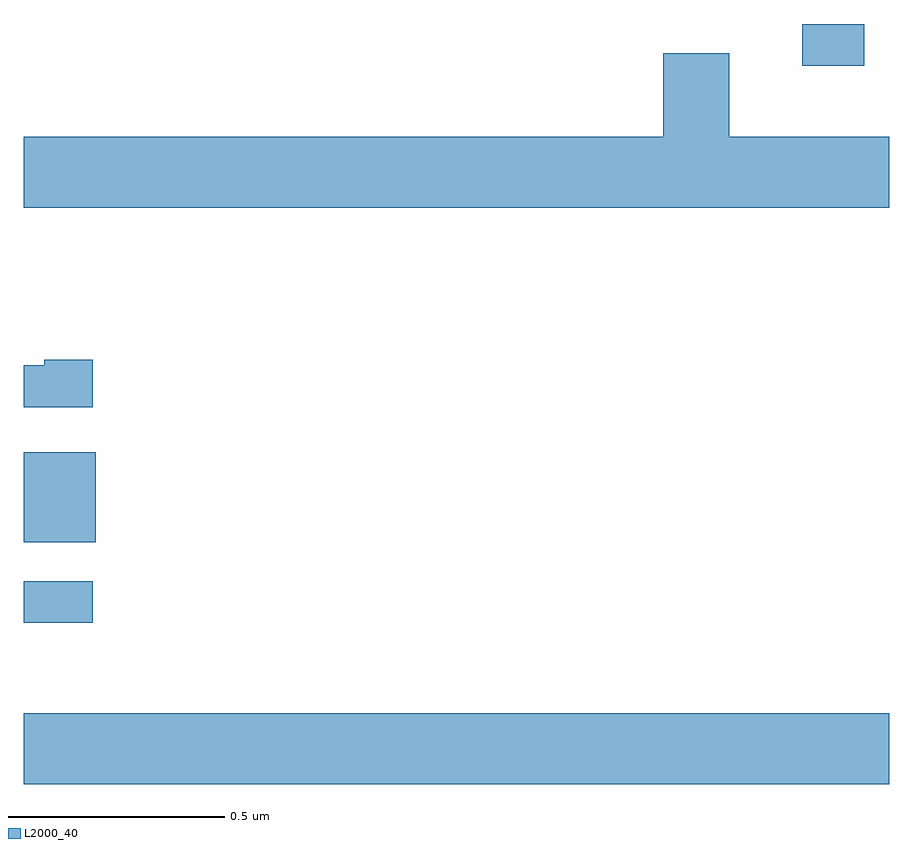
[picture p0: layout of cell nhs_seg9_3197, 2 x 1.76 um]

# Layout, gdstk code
import gdstk
lib = gdstk.Library(unit=1e-6, precision=1e-09)
def R(c, l, rs):  # rectangles x0, y0, x1, y1
    for r in rs: c.add(gdstk.rectangle(r[:2], r[2:], *l))
def P(c, l, *ps):  # polygons
    for p in ps: c.add(gdstk.Polygon(p, *l))
L2000_40 = (2000, 40)

nhs_seg9_3197 = lib.new_cell('nhs_seg9_3197')
R(nhs_seg9_3197, L2000_40, [(150,1205.744,152,1205.908), (150,1206.117,150.16,1206.213), (150,1206.302,150.166,1206.511), (151.799,1207.404,151.942,1207.5)])
P(nhs_seg9_3197, L2000_40, [(152,1207.24),(151.63,1207.24),(151.63,1207.432),(151.478,1207.432),(151.478,1207.24),(150,1207.24),(150,1207.076),(152,1207.076)],
  [(150.16,1206.724),(150.047,1206.724),(150.047,1206.711),(150,1206.711),(150,1206.615),(150.16,1206.615)])

lib.write_gds('nhs_seg9_3197.gds')
